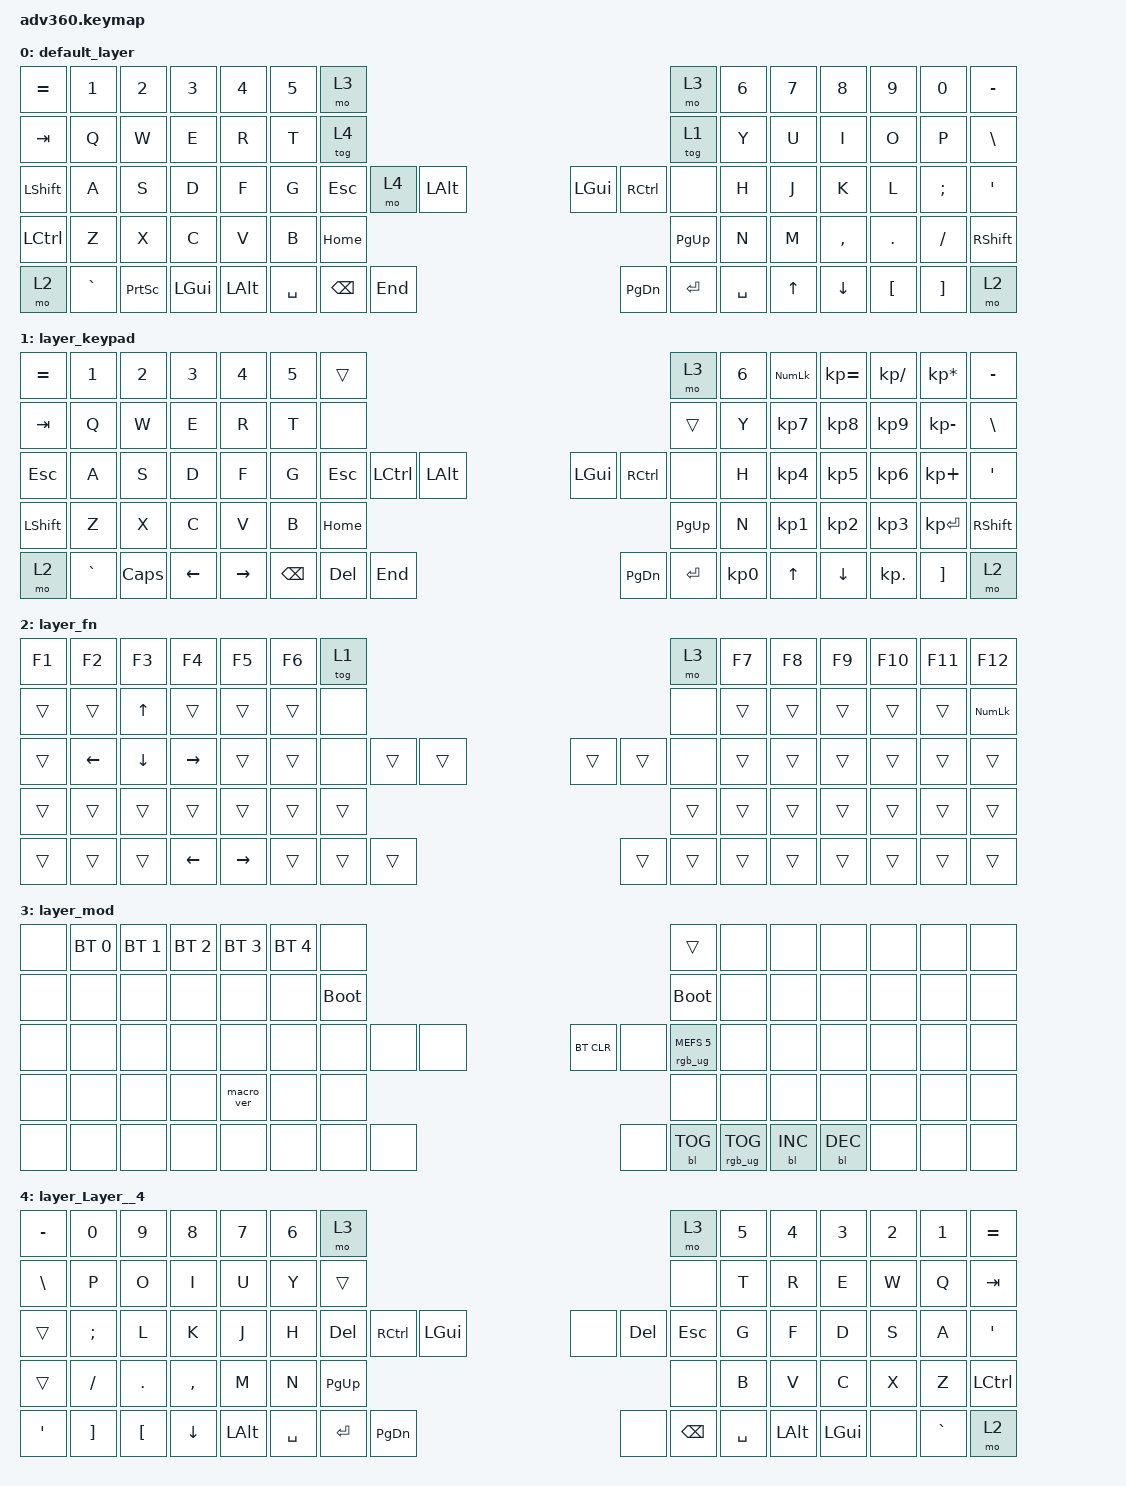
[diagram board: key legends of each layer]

/*
 * Copyright (c) 2020 The ZMK Contributors
 *
 * SPDX-License-Identifier: MIT
 */


/* THIS FILE WAS GENERATED!
 *
 * This file was generated automatically. You may or may not want to
 * edit it directly.
 */

#include <behaviors.dtsi>
#include <dt-bindings/zmk/keys.h>
#include <dt-bindings/zmk/bt.h>
#include <dt-bindings/zmk/rgb.h>
#include <dt-bindings/zmk/backlight.h>

/ {
  behaviors {
    #include "macros.dtsi"
    #include "version.dtsi"

    hm: homerow_mods {
        compatible = "zmk,behavior-hold-tap";
        label = "HOMEROW_MODS";
        #binding-cells = <2>;
        tapping-term-ms = <200>;
        quick_tap_ms = <175>;
        flavor = "tap-preferred";
        bindings = <&kp>, <&kp>;
    };
  };

    keymap {
        compatible = "zmk,keymap";


        default_layer {
            bindings = <
      &kp EQUAL     &kp N1           &kp N2    &kp N3    &kp N4  &kp N5                 &mo 3                                                                     &mo 3  &kp N6  &kp N7     &kp N8    &kp N9    &kp N0  &kp MINUS
        &kp TAB      &kp Q            &kp W     &kp E     &kp R   &kp T                &tog 4                                                                    &tog 1   &kp Y   &kp U      &kp I     &kp O     &kp P   &kp BSLH
 &kp LEFT_SHIFT      &kp A            &kp S     &kp D     &kp F   &kp G            &kp ESCAPE          &mo 4  &kp LALT                   &kp LGUI  &kp RCTRL      &none   &kp H   &kp J      &kp K     &kp L  &kp SEMI    &kp SQT
      &kp LCTRL      &kp Z            &kp X     &kp C     &kp V   &kp B                                       &kp HOME                  &kp PG_UP                         &kp N   &kp M  &kp COMMA   &kp DOT  &kp FSLH  &kp RSHFT
          &mo 2  &kp GRAVE  &kp PRINTSCREEN  &kp LGUI  &kp LALT                     &kp SPACE  &kp BACKSPACE   &kp END                  &kp PG_DN  &kp ENTER  &kp SPACE          &kp UP   &kp DOWN  &kp LBKT  &kp RBKT      &mo 2
            >;
        };

        layer_keypad {
            bindings = <
 &kp EQUAL     &kp N1    &kp N2    &kp N3     &kp N4  &kp N5                &trans                                                                 &mo 3  &kp N6  &kp KP_NUM  &kp KP_EQUAL  &kp KP_DIVIDE  &kp KP_MULTIPLY  &kp MINUS
   &kp TAB      &kp Q     &kp W     &kp E      &kp R   &kp T                 &none                                                                &trans   &kp Y   &kp KP_N7     &kp KP_N8      &kp KP_N9     &kp KP_MINUS   &kp BSLH
   &kp ESC      &kp A     &kp S     &kp D      &kp F   &kp G            &kp ESCAPE  &kp LCTRL  &kp LALT                   &kp LGUI  &kp RCTRL      &none   &kp H   &kp KP_N4     &kp KP_N5      &kp KP_N6      &kp KP_PLUS    &kp SQT
 &kp LSHFT      &kp Z     &kp X     &kp C      &kp V   &kp B                                   &kp HOME                  &kp PG_UP                         &kp N   &kp KP_N1     &kp KP_N2      &kp KP_N3     &kp KP_ENTER  &kp RSHFT
     &mo 2  &kp GRAVE  &kp CAPS  &kp LEFT  &kp RIGHT                      &kp BSPC    &kp DEL   &kp END                  &kp PG_DN  &kp ENTER  &kp KP_N0              &kp UP      &kp DOWN     &kp KP_DOT         &kp RBKT      &mo 2
            >;
        };

        layer_fn {
            bindings = <
 &kp F1          &kp F2          &kp F3           &kp F4     &kp F5  &kp F6            &tog 1                                                   &mo 3  &kp F7  &kp F8  &kp F9  &kp F10  &kp F11         &kp F12
 &trans          &trans    &kp UP_ARROW           &trans     &trans  &trans             &none                                                   &none  &trans  &trans  &trans   &trans   &trans  &kp KP_NUMLOCK
 &trans  &kp LEFT_ARROW  &kp DOWN_ARROW  &kp RIGHT_ARROW     &trans  &trans             &none  &trans  &trans                  &trans  &trans   &none  &trans  &trans  &trans   &trans   &trans          &trans
 &trans          &trans          &trans           &trans     &trans  &trans                            &trans                  &trans                  &trans  &trans  &trans   &trans   &trans          &trans
 &trans          &trans          &trans         &kp LEFT  &kp RIGHT                    &trans  &trans  &trans                  &trans  &trans  &trans          &trans  &trans   &trans   &trans          &trans
            >;
        };

        layer_mod {
            bindings = <
  &none  &bt BT_SEL 0  &bt BT_SEL 1  &bt BT_SEL 2  &bt BT_SEL 3  &bt BT_SEL 4                  &none                                                                          &trans   &none       &none       &none   &none   &none   &none
  &none         &none         &none         &none         &none         &none            &bootloader                                                                     &bootloader   &none       &none       &none   &none   &none   &none
  &none         &none         &none         &none         &none         &none                  &none   &none   &none                  &bt BT_CLR       &none  &rgb_ug RGB_MEFS_CMD 5   &none       &none       &none   &none   &none   &none
  &none         &none         &none         &none    &macro_ver         &none                                  &none                       &none                                       &none       &none       &none   &none   &none   &none
  &none         &none         &none         &none         &none                                &none   &none   &none                       &none  &bl BL_TOG         &rgb_ug RGB_TOG          &bl BL_INC  &bl BL_DEC   &none   &none   &none
            >;
        };

        layer_Layer__4 {
            bindings = <
        &kp MINUS       &kp NUMBER_0      &kp NUMBER_9  &kp NUMBER_8  &kp NUMBER_7  &kp NUMBER_6                &mo 3                                                                                &mo 3  &kp NUMBER_5  &kp NUMBER_4  &kp NUMBER_3  &kp NUMBER_2  &kp NUMBER_1         &kp EQUAL
    &kp BACKSLASH              &kp P             &kp O         &kp I         &kp U         &kp Y               &trans                                                                                &none         &kp T         &kp R         &kp E         &kp W         &kp Q           &kp TAB
           &trans      &kp SEMICOLON             &kp L         &kp K         &kp J         &kp H              &kp DEL  &kp RIGHT_CONTROL   &kp LEFT_GUI                   &none        &kp DEL  &kp ESCAPE         &kp G         &kp F         &kp D         &kp S         &kp A  &kp SINGLE_QUOTE
           &trans          &kp SLASH        &kp PERIOD     &kp COMMA         &kp M         &kp N                                              &kp PG_UP                   &none                                    &kp B         &kp V         &kp C         &kp X         &kp Z         &kp LCTRL
 &kp SINGLE_QUOTE  &kp RIGHT_BRACKET  &kp LEFT_BRACKET      &kp DOWN      &kp LALT                          &kp SPACE          &kp ENTER  &kp PAGE_DOWN                   &none  &kp BACKSPACE   &kp SPACE                    &kp LALT      &kp LGUI         &none     &kp GRAVE             &mo 2
            >;
        };

    };
};
